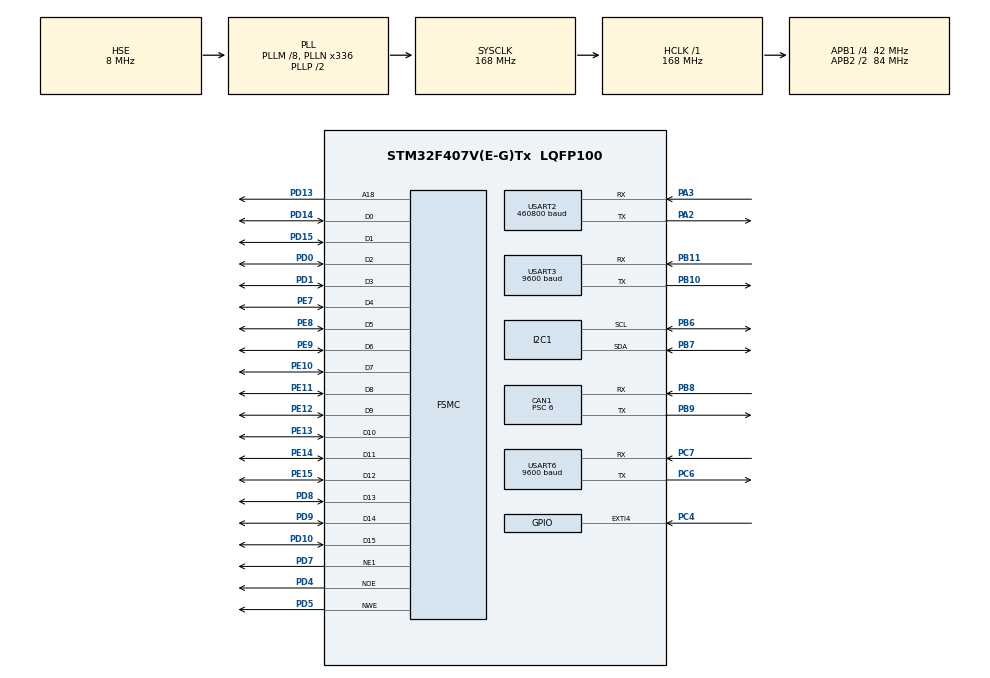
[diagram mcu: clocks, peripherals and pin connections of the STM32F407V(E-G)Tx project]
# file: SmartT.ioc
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CAN1.CalculateBaudRate=500000
CAN1.CalculateTimeBit=2000
CAN1.CalculateTimeQuantum=142.85714285714286
CAN1.AutoBusOff=ENABLE
CAN1.AutoRetransmission=ENABLE
CAN1.Prescaler=6
CAN1.TimeSeg1=CAN_BS1_11TQ
CAN1.TimeSeg2=CAN_BS2_2TQ
FSMC.AddressSetupTime1=5
FSMC.BusTurnAroundDuration1=0
FSMC.DataSetupTime1=9
Mcu.Family=STM32F4
Mcu.Name=STM32F407V(E-G)Tx
Mcu.Package=LQFP100
NVIC.PriorityGroup=NVIC_PRIORITYGROUP_4
NVIC.USART3_IRQn=true\:0\:0\:false\:false\:true\:true\:true\:true
NVIC.USART6_IRQn=true\:0\:0\:false\:false\:true\:true\:true\:true
PA13.Mode=Serial_Wire
PA13.Signal=SYS_JTMS-SWDIO
PA14.Mode=Serial_Wire
PA14.Signal=SYS_JTCK-SWCLK
PA2.Mode=Asynchronous
PA2.Signal=USART2_TX
PA3.Mode=Asynchronous
PA3.Signal=USART2_RX
PB10.Mode=Asynchronous
PB10.Signal=USART3_TX
PB11.Mode=Asynchronous
PB11.Signal=USART3_RX
PB6.Mode=I2C
PB6.Signal=I2C1_SCL
PB7.Mode=I2C
PB7.Signal=I2C1_SDA
PB8.Mode=CAN_Activate
PB8.Signal=CAN1_RX
PB9.Mode=CAN_Activate
PB9.Signal=CAN1_TX
PC4.Signal=GPXTI4
PC6.Mode=Asynchronous
PC6.Signal=USART6_TX
PC7.Mode=Asynchronous
PC7.Signal=USART6_RX
PD0.Mode=16b-d1
PD0.Signal=FSMC_D2
PD1.Mode=16b-d1
PD1.Signal=FSMC_D3
PD10.Mode=16b-d1
PD10.Signal=FSMC_D15
PD13.Mode=A18_1
PD13.Signal=FSMC_A18
PD14.Mode=16b-d1
PD14.Signal=FSMC_D0
PD15.Mode=16b-d1
PD15.Signal=FSMC_D1
PD4.Mode=Lcd1
PD4.Signal=FSMC_NOE
PD5.Mode=Lcd1
PD5.Signal=FSMC_NWE
PD7.Mode=NorPsramChipSelect1_1
PD7.Signal=FSMC_NE1
PD8.Mode=16b-d1
PD8.Signal=FSMC_D13
PD9.Mode=16b-d1
PD9.Signal=FSMC_D14
PE10.Mode=16b-d1
PE10.Signal=FSMC_D7
PE11.Mode=16b-d1
PE11.Signal=FSMC_D8
PE12.Mode=16b-d1
PE12.Signal=FSMC_D9
PE13.Mode=16b-d1
PE13.Signal=FSMC_D10
PE14.Mode=16b-d1
PE14.Signal=FSMC_D11
PE15.Mode=16b-d1
PE15.Signal=FSMC_D12
PE7.Mode=16b-d1
PE7.Signal=FSMC_D4
PE8.Mode=16b-d1
PE8.Signal=FSMC_D5
PE9.Mode=16b-d1
PE9.Signal=FSMC_D6
PH0-OSC_IN.Mode=HSE-External-Oscillator
PH0-OSC_IN.Signal=RCC_OSC_IN
PH1-OSC_OUT.Mode=HSE-External-Oscillator
PH1-OSC_OUT.Signal=RCC_OSC_OUT
ProjectManager.HeapSize=0x200
ProjectManager.StackSize=0x1000
ProjectManager.TargetToolchain=STM32CubeIDE
RCC.48MHZClocksFreq_Value=84000000
RCC.AHBFreq_Value=168000000
RCC.APB1CLKDivider=RCC_HCLK_DIV4
RCC.APB1Freq_Value=42000000
RCC.APB1TimFreq_Value=84000000
RCC.APB2CLKDivider=RCC_HCLK_DIV2
RCC.APB2Freq_Value=84000000
RCC.APB2TimFreq_Value=168000000
RCC.CortexFreq_Value=168000000
RCC.HCLKFreq_Value=168000000
RCC.HSE_VALUE=8000000
RCC.HSI_VALUE=16000000
RCC.LSE_VALUE=32768
RCC.PLLM=8
RCC.PLLN=336
RCC.PLLSourceVirtual=RCC_PLLSOURCE_HSE
RCC.SYSCLKFreq_VALUE=168000000
RCC.SYSCLKSource=RCC_SYSCLKSOURCE_PLLCLK
RCC.VCOOutputFreq_Value=336000000
USART2.BaudRate=460800
USART2.VirtualMode=VM_ASYNC
USART3.BaudRate=9600
USART3.VirtualMode=VM_ASYNC
USART6.BaudRate=9600
USART6.VirtualMode=VM_ASYNC
board=custom

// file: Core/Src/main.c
/* USER CODE BEGIN Header */
/**
  ******************************************************************************
  * @file           : main.c
  * @brief          : Main program body
  ******************************************************************************
  * @attention
  *
  * Copyright (c) 2026 STMicroelectronics.
  * All rights reserved.
  *
  * This software is licensed under terms that can be found in the LICENSE file
  * in the root directory of this software component.
  * If no LICENSE file comes with this software, it is provided AS-IS.
  *
  ******************************************************************************
  */
/* USER CODE END Header */
#include "main.h"

/* USER CODE BEGIN Includes */
#include "lcd_bus.h"
#include "lcd.h"
#include "mpu6050.h"
#include "gps.h"
#include "ultrasonic.h"
#include "smartt_config.h"
#include "smartt_can.h"
#include "smartt_engine.h"
#include "smartt_telemetry.h"

#include <stdio.h>
#include <math.h>
#include <string.h>
/* USER CODE END Includes */

CAN_HandleTypeDef hcan1;

I2C_HandleTypeDef hi2c1;

UART_HandleTypeDef huart2;
UART_HandleTypeDef huart3;
UART_HandleTypeDef huart6;

SRAM_HandleTypeDef hsram1;

/* USER CODE BEGIN PV */
MPU6050_Data_t imu;

float filtered_roll = 0.0f;
float filtered_pitch = 0.0f;

uint32_t imu_last_tick = 0U;
uint32_t imu_reinit_tick = 0U;
uint32_t display_last_tick = 0U;
uint32_t telemetry_last_tick = 0U;
uint32_t last_ultrasonic_frame_seq = 0U;
uint32_t last_sent_event_seq = 0U;

uint8_t imu_ok = 0U;
uint8_t imu_consecutive_fail = 0U;
uint32_t imu_read_ok = 0U;
uint32_t imu_read_fail = 0U;

char gps_lat_text[24];
char gps_lon_text[24];
char sensor_text[32];

GPS_Data_t gps_snapshot;
Ultrasonic_Data_t ultrasonic_snapshot;
SmartT_CAN_Data_t can_snapshot;
SmartT_EngineSnapshot_t engine_snapshot;
/* USER CODE END PV */

void SystemClock_Config(void);
static void MX_GPIO_Init(void);
static void MX_CAN1_Init(void);
static void MX_FSMC_Init(void);
static void MX_I2C1_Init(void);
static void MX_USART2_UART_Init(void);
static void MX_USART3_UART_Init(void);
static void MX_USART6_UART_Init(void);

/* USER CODE BEGIN 0 */
/* ================================================================
 * SmartT V2.2 main.c is now an orchestrator.
 * Fuel intelligence lives in smartt_engine.c, CAN context in
 * smartt_can.c, and JSON telemetry in smartt_telemetry.c.
 * ================================================================ */

static uint8_t SmartT_IMUStartWithCalibration(void)
{
  memset(&imu, 0, sizeof(imu));

  if (MPU6050_Init() != HAL_OK)
    return 0U;

  if (MPU6050_CalibrateGyro() != HAL_OK)
    return 0U;

  if (MPU6050_Read(&imu) != HAL_OK)
    return 0U;

  filtered_roll = imu.roll;
  filtered_pitch = imu.pitch;
  imu_last_tick = HAL_GetTick();
  imu_consecutive_fail = 0U;
  return 1U;
}

static uint8_t SmartT_IMUTryRecover(void)
{
  /* Runtime recovery intentionally skips gyro calibration because the
   * vehicle may already be moving. */
  if (MPU6050_Init() != HAL_OK)
    return 0U;

  if (MPU6050_Read(&imu) != HAL_OK)
    return 0U;

  filtered_roll = imu.roll;
  filtered_pitch = imu.pitch;
  imu_last_tick = HAL_GetTick();
  imu_consecutive_fail = 0U;
  return 1U;
}

static float SmartT_ComputeDisplayTilt(void)
{
  if (!imu_ok)
    return -1.0f;

  const float accel_xy = sqrtf((imu.ax * imu.ax) + (imu.ay * imu.ay));
  const float accel_mag = sqrtf((imu.ax * imu.ax) +
                                (imu.ay * imu.ay) +
                                (imu.az * imu.az));

  if (accel_mag < 0.10f)
    return -1.0f;

  float tilt = atan2f(accel_xy, imu.az) * 57.2957795f;
  if (tilt < 0.5f)
    tilt = 0.0f;
  return tilt;
}

static void FormatCoordinate(char *buffer, size_t size, double value)
{
  char sign = ' ';
  if (value < 0.0)
  {
    sign = '-';
    value = -value;
  }

  const uint32_t integer_part = (uint32_t)value;
  const uint32_t decimal_part =
      (uint32_t)((value - (double)integer_part) * 100000.0);

  snprintf(buffer, size, "%c%lu.%05lu", sign,
           (unsigned long)integer_part,
           (unsigned long)decimal_part);
}
/* USER CODE END 0 */

int main(void)
{

  /* MCU Configuration--------------------------------------------------------*/

  /* Reset of all peripherals, Initializes the Flash interface and the Systick. */
  HAL_Init();

  /* Configure the system clock */
  SystemClock_Config();

  /* Initialize all configured peripherals */
  MX_GPIO_Init();
  MX_CAN1_Init();
  MX_FSMC_Init();
  MX_I2C1_Init();
  MX_USART2_UART_Init();
  MX_USART3_UART_Init();
  MX_USART6_UART_Init();
  /* USER CODE BEGIN 2 */
memset(&gps_snapshot, 0, sizeof(gps_snapshot));
  memset(&ultrasonic_snapshot, 0, sizeof(ultrasonic_snapshot));
  memset(&can_snapshot, 0, sizeof(can_snapshot));
  memset(&engine_snapshot, 0, sizeof(engine_snapshot));

  LCD_Init();
  SmartT_DrawDashboard();

  LCD_DrawString(88, 182, "CALIBRATING", LCD_YELLOW, LCD_BRAND_ELEVATED, 1);

  imu_ok = SmartT_IMUStartWithCalibration();
  imu_reinit_tick = HAL_GetTick();

  if (!imu_ok)
  {
    LCD_DrawString(88, 168, "IMU FAIL    ", LCD_RED, LCD_BRAND_ELEVATED, 1);
  }

  GPS_Init();
  Ultrasonic_Init();
  (void)SmartT_CAN_Init(&hcan1);
  SmartT_EngineInit(HAL_GetTick());

  if (imu_ok)
  {
    SmartT_EnginePushImu(&imu, filtered_roll, filtered_pitch, 1U, HAL_GetTick());
  }

  display_last_tick = HAL_GetTick();
  telemetry_last_tick = HAL_GetTick();
/* USER CODE END 2 */

  /* Infinite loop */
  /* USER CODE BEGIN WHILE */
  while (1)
  {
    const uint32_t now = HAL_GetTick();

    GPS_Process();
    Ultrasonic_Process();
    SmartT_CAN_Process(&hcan1, now);

    GPS_GetSnapshot(&gps_snapshot);
    Ultrasonic_GetSnapshot(&ultrasonic_snapshot);
    SmartT_CAN_GetSnapshot(&can_snapshot);

    /* ------------------------------------------------------------
     * MPU6050 at 50 Hz: complementary attitude + motion energy.
     * ------------------------------------------------------------ */
    if (imu_ok && ((now - imu_last_tick) >= SMARTT_IMU_PERIOD_MS))
    {
      const float dt = (float)(now - imu_last_tick) / 1000.0f;
      imu_last_tick = now;

      if (MPU6050_Read(&imu) == HAL_OK)
      {
        imu_read_ok++;
        imu_consecutive_fail = 0U;

        const float alpha = 0.98f;
        filtered_roll = alpha * (filtered_roll + imu.gx * dt) +
                        (1.0f - alpha) * imu.roll;
        filtered_pitch = alpha * (filtered_pitch + imu.gy * dt) +
                         (1.0f - alpha) * imu.pitch;

        SmartT_EnginePushImu(&imu,
                             filtered_roll,
                             filtered_pitch,
                             1U,
                             now);
      }
      else
      {
        imu_read_fail++;
        if (imu_consecutive_fail < 255U)
          imu_consecutive_fail++;

        if (imu_consecutive_fail >= SMARTT_IMU_MAX_CONSECUTIVE_FAIL)
        {
          imu_ok = 0U;
          imu_reinit_tick = now;
          memset(&imu, 0, sizeof(imu));
          filtered_roll = 0.0f;
          filtered_pitch = 0.0f;
          SmartT_EnginePushImu(NULL, 0.0f, 0.0f, 0U, now);
        }
      }
    }

    if (!imu_ok && ((now - imu_reinit_tick) >= SMARTT_IMU_RETRY_MS))
    {
      imu_reinit_tick = now;
      if (SmartT_IMUTryRecover())
      {
        imu_ok = 1U;
        imu_read_ok++;
        SmartT_EnginePushImu(&imu,
                             filtered_roll,
                             filtered_pitch,
                             1U,
                             now);
      }
      else
      {
        imu_read_fail++;
      }
    }

    /* Safe context fusion: no fresh speed/engine evidence means UNKNOWN,
     * rather than assuming the vehicle is parked from a quiet IMU alone. */
    SmartT_EngineUpdateContext(&gps_snapshot, &can_snapshot, now);

    /* Process each complete automatic-UART ultrasonic frame exactly once. */
    if (ultrasonic_snapshot.valid &&
        (ultrasonic_snapshot.frame_seq != 0U) &&
        (ultrasonic_snapshot.frame_seq != last_ultrasonic_frame_seq))
    {
        last_ultrasonic_frame_seq = ultrasonic_snapshot.frame_seq;
#if SMARTT_DEBUG_SKIP_ENGINE_US
        /* debug: driver + display only, engine disabled */
#else
        SmartT_EngineProcessUltrasonic(&ultrasonic_snapshot, now);
#endif
    }

    /* Freshness, baseline timers and candidate confirmation continue even
     * between sensor frames. */
    SmartT_EngineTick(&ultrasonic_snapshot, now);
    SmartT_EngineGetSnapshot(&engine_snapshot);

    /* Confirmed incidents are pushed immediately.  event_seq is stable so
     * the gateway/backend can deduplicate retries idempotently. */
    if ((engine_snapshot.event_seq != 0U) &&
        (engine_snapshot.event_seq != last_sent_event_seq))
    {
      /* Advance the local ACK marker only after USART accepted the record.
       * If transmission fails, the same confirmed event is retried next loop. */
      if (SmartT_TelemetrySend(&huart2,
                               SMARTT_RECORD_EVENT,
                               &engine_snapshot,
                               &can_snapshot,
                               &gps_snapshot,
                               &ultrasonic_snapshot,
                               now) == HAL_OK)
      {
        last_sent_event_seq = engine_snapshot.event_seq;
      }
    }

    if ((now - telemetry_last_tick) >= SMARTT_TELEMETRY_PERIOD_MS)
    {
      telemetry_last_tick = now;
      (void)SmartT_TelemetrySend(&huart2,
                                 SMARTT_RECORD_TELEMETRY,
                                 &engine_snapshot,
                                 &can_snapshot,
                                 &gps_snapshot,
                                 &ultrasonic_snapshot,
                                 now);
    }

    /* ------------------------------------------------------------
     * TFT at 10 Hz.
     * ------------------------------------------------------------ */
    if ((now - display_last_tick) >= SMARTT_DISPLAY_PERIOD_MS)
    {
      display_last_tick = now;

      const int vehicle_speed = engine_snapshot.context.speed_known ?
                                (int)engine_snapshot.context.speed_kmh : 0;
      const int rpm = engine_snapshot.context.can_fresh ?
                      (int)engine_snapshot.context.rpm : -1;

      const float display_fuel = SMARTT_TANK_CALIBRATION_READY &&
                                 engine_snapshot.fuel.available ?
                                 engine_snapshot.fuel.percent_filtered : -1.0f;

      const char *state_text = imu_ok ?
                               SmartT_ContextToString(engine_snapshot.context.mode) :
                               "IMU FAIL";
      const char *event_text = SmartT_EventToString(engine_snapshot.event);

      if (ultrasonic_snapshot.valid &&
          (ultrasonic_snapshot.last_update_ms != 0U) &&
          ((now - ultrasonic_snapshot.last_update_ms) < SMARTT_US_TIMEOUT_MS))
      {
        const unsigned int q_pct =
            (unsigned int)(engine_snapshot.fuel.quality * 100.0f + 0.5f);
        snprintf(sensor_text,
                 sizeof(sensor_text),
                 "US %u Q%u",
                 (unsigned int)ultrasonic_snapshot.distance_mm,
                 q_pct);
      }
      else
      {
        strcpy(sensor_text, "US NO DATA");
      }

      SmartT_UpdateDashboard(display_fuel,
                             rpm,
                             vehicle_speed,
                             SmartT_ComputeDisplayTilt(),
                             state_text,
                             event_text,
                             sensor_text);

      if (gps_snapshot.fix &&
          (gps_snapshot.last_update_ms != 0U) &&
          ((now - gps_snapshot.last_update_ms) <= SMARTT_GPS_FRESH_MS))
      {
        FormatCoordinate(gps_lat_text, sizeof(gps_lat_text), gps_snapshot.latitude);
        FormatCoordinate(gps_lon_text, sizeof(gps_lon_text), gps_snapshot.longitude);
      }

      SmartT_UpdateGpsBar(
          (gps_snapshot.fix &&
           (gps_snapshot.last_update_ms != 0U) &&
           ((now - gps_snapshot.last_update_ms) <= SMARTT_GPS_FRESH_MS)) ? 1U : 0U,
          gps_lat_text,
          gps_lon_text);
    }
    /* USER CODE END WHILE */

  }
}

void SystemClock_Config(void)
{
  RCC_OscInitTypeDef RCC_OscInitStruct = {0};
  RCC_ClkInitTypeDef RCC_ClkInitStruct = {0};

  /** Configure the main internal regulator output voltage
  */
  __HAL_RCC_PWR_CLK_ENABLE();
  __HAL_PWR_VOLTAGESCALING_CONFIG(PWR_REGULATOR_VOLTAGE_SCALE1);

  /** Initializes the RCC Oscillators according to the specified parameters
  * in the RCC_OscInitTypeDef structure.
  */
  RCC_OscInitStruct.OscillatorType = RCC_OSCILLATORTYPE_HSE;
  RCC_OscInitStruct.HSEState = RCC_HSE_ON;
  RCC_OscInitStruct.PLL.PLLState = RCC_PLL_ON;
  RCC_OscInitStruct.PLL.PLLSource = RCC_PLLSOURCE_HSE;
  RCC_OscInitStruct.PLL.PLLM = 8;
  RCC_OscInitStruct.PLL.PLLN = 336;
  RCC_OscInitStruct.PLL.PLLP = RCC_PLLP_DIV2;
  RCC_OscInitStruct.PLL.PLLQ = 4;
  if (HAL_RCC_OscConfig(&RCC_OscInitStruct) != HAL_OK)
  {
    Error_Handler();
  }

  /** Initializes the CPU, AHB and APB buses clocks
  */
  RCC_ClkInitStruct.ClockType = RCC_CLOCKTYPE_HCLK|RCC_CLOCKTYPE_SYSCLK
                              |RCC_CLOCKTYPE_PCLK1|RCC_CLOCKTYPE_PCLK2;
  RCC_ClkInitStruct.SYSCLKSource = RCC_SYSCLKSOURCE_PLLCLK;
  RCC_ClkInitStruct.AHBCLKDivider = RCC_SYSCLK_DIV1;
  RCC_ClkInitStruct.APB1CLKDivider = RCC_HCLK_DIV4;
  RCC_ClkInitStruct.APB2CLKDivider = RCC_HCLK_DIV2;

  if (HAL_RCC_ClockConfig(&RCC_ClkInitStruct, FLASH_LATENCY_5) != HAL_OK)
  {
    Error_Handler();
  }
}

static void MX_CAN1_Init(void)
{

  hcan1.Instance = CAN1;
  hcan1.Init.Prescaler = 6;
  hcan1.Init.Mode = CAN_MODE_NORMAL;
  hcan1.Init.SyncJumpWidth = CAN_SJW_1TQ;
  hcan1.Init.TimeSeg1 = CAN_BS1_11TQ;
  hcan1.Init.TimeSeg2 = CAN_BS2_2TQ;
  hcan1.Init.TimeTriggeredMode = DISABLE;
  hcan1.Init.AutoBusOff = ENABLE;
  hcan1.Init.AutoWakeUp = DISABLE;
  hcan1.Init.AutoRetransmission = ENABLE;
  hcan1.Init.ReceiveFifoLocked = DISABLE;
  hcan1.Init.TransmitFifoPriority = DISABLE;
  if (HAL_CAN_Init(&hcan1) != HAL_OK)
  {
    Error_Handler();
  }

}

static void MX_I2C1_Init(void)
{

  hi2c1.Instance = I2C1;
  hi2c1.Init.ClockSpeed = 100000;
  hi2c1.Init.DutyCycle = I2C_DUTYCYCLE_2;
  hi2c1.Init.OwnAddress1 = 0;
  hi2c1.Init.AddressingMode = I2C_ADDRESSINGMODE_7BIT;
  hi2c1.Init.DualAddressMode = I2C_DUALADDRESS_DISABLE;
  hi2c1.Init.OwnAddress2 = 0;
  hi2c1.Init.GeneralCallMode = I2C_GENERALCALL_DISABLE;
  hi2c1.Init.NoStretchMode = I2C_NOSTRETCH_DISABLE;
  if (HAL_I2C_Init(&hi2c1) != HAL_OK)
  {
    Error_Handler();
  }

}

static void MX_USART2_UART_Init(void)
{

  huart2.Instance = USART2;
  huart2.Init.BaudRate = 460800;
  huart2.Init.WordLength = UART_WORDLENGTH_8B;
  huart2.Init.StopBits = UART_STOPBITS_1;
  huart2.Init.Parity = UART_PARITY_NONE;
  huart2.Init.Mode = UART_MODE_TX_RX;
  huart2.Init.HwFlowCtl = UART_HWCONTROL_NONE;
  huart2.Init.OverSampling = UART_OVERSAMPLING_16;
  if (HAL_UART_Init(&huart2) != HAL_OK)
  {
    Error_Handler();
  }

}

static void MX_USART3_UART_Init(void)
{

  huart3.Instance = USART3;
  huart3.Init.BaudRate = 9600;
  huart3.Init.WordLength = UART_WORDLENGTH_8B;
  huart3.Init.StopBits = UART_STOPBITS_1;
  huart3.Init.Parity = UART_PARITY_NONE;
  huart3.Init.Mode = UART_MODE_TX_RX;
  huart3.Init.HwFlowCtl = UART_HWCONTROL_NONE;
  huart3.Init.OverSampling = UART_OVERSAMPLING_16;
  if (HAL_UART_Init(&huart3) != HAL_OK)
  {
    Error_Handler();
  }

}

static void MX_USART6_UART_Init(void)
{

  huart6.Instance = USART6;
  huart6.Init.BaudRate = 9600;
  huart6.Init.WordLength = UART_WORDLENGTH_8B;
  huart6.Init.StopBits = UART_STOPBITS_1;
  huart6.Init.Parity = UART_PARITY_NONE;
  huart6.Init.Mode = UART_MODE_RX;
  huart6.Init.HwFlowCtl = UART_HWCONTROL_NONE;
  huart6.Init.OverSampling = UART_OVERSAMPLING_16;
  if (HAL_UART_Init(&huart6) != HAL_OK)
  {
    Error_Handler();
  }

}

static void MX_GPIO_Init(void)
{
  GPIO_InitTypeDef GPIO_InitStruct = {0};

  /* GPIO Ports Clock Enable */
  __HAL_RCC_GPIOH_CLK_ENABLE();
  __HAL_RCC_GPIOA_CLK_ENABLE();
  __HAL_RCC_GPIOC_CLK_ENABLE();
  __HAL_RCC_GPIOE_CLK_ENABLE();
  __HAL_RCC_GPIOB_CLK_ENABLE();
  __HAL_RCC_GPIOD_CLK_ENABLE();

  /*Configure GPIO pin : PC4 */
  GPIO_InitStruct.Pin = GPIO_PIN_4;
  GPIO_InitStruct.Mode = GPIO_MODE_IT_RISING;
  GPIO_InitStruct.Pull = GPIO_NOPULL;
  HAL_GPIO_Init(GPIOC, &GPIO_InitStruct);

}

/* FSMC initialization function */
static void MX_FSMC_Init(void)
{

  FSMC_NORSRAM_TimingTypeDef Timing = {0};

  /** Perform the SRAM1 memory initialization sequence
  */
  hsram1.Instance = FSMC_NORSRAM_DEVICE;
  hsram1.Extended = FSMC_NORSRAM_EXTENDED_DEVICE;
  /* hsram1.Init */
  hsram1.Init.NSBank = FSMC_NORSRAM_BANK1;
  hsram1.Init.DataAddressMux = FSMC_DATA_ADDRESS_MUX_DISABLE;
  hsram1.Init.MemoryType = FSMC_MEMORY_TYPE_SRAM;
  hsram1.Init.MemoryDataWidth = FSMC_NORSRAM_MEM_BUS_WIDTH_16;
  hsram1.Init.BurstAccessMode = FSMC_BURST_ACCESS_MODE_DISABLE;
  hsram1.Init.WaitSignalPolarity = FSMC_WAIT_SIGNAL_POLARITY_LOW;
  hsram1.Init.WrapMode = FSMC_WRAP_MODE_DISABLE;
  hsram1.Init.WaitSignalActive = FSMC_WAIT_TIMING_BEFORE_WS;
  hsram1.Init.WriteOperation = FSMC_WRITE_OPERATION_ENABLE;
  hsram1.Init.WaitSignal = FSMC_WAIT_SIGNAL_DISABLE;
  hsram1.Init.ExtendedMode = FSMC_EXTENDED_MODE_DISABLE;
  hsram1.Init.AsynchronousWait = FSMC_ASYNCHRONOUS_WAIT_DISABLE;
  hsram1.Init.WriteBurst = FSMC_WRITE_BURST_DISABLE;
  hsram1.Init.PageSize = FSMC_PAGE_SIZE_NONE;
  /* Timing */
  Timing.AddressSetupTime = 5;
  Timing.AddressHoldTime = 15;
  Timing.DataSetupTime = 9;
  Timing.BusTurnAroundDuration = 0;
  Timing.CLKDivision = 16;
  Timing.DataLatency = 17;
  Timing.AccessMode = FSMC_ACCESS_MODE_A;
  /* ExtTiming */

  if (HAL_SRAM_Init(&hsram1, &Timing, NULL) != HAL_OK)
  {
    Error_Handler( );
  }

}

/* USER CODE BEGIN 4 */
void HAL_UART_RxCpltCallback(UART_HandleTypeDef *huart)
{
  GPS_RxCallback(huart);
  Ultrasonic_RxCallback(huart);
}

void HAL_UART_ErrorCallback(UART_HandleTypeDef *huart)
{
  if (huart->Instance == USART6)
  {
    Ultrasonic_Init();
  }

  if (huart->Instance == USART3)
  {
    GPS_Init();
  }
}
/* USER CODE END 4 */

void Error_Handler(void)
{
  __disable_irq();
  while (1)
  {
  }
}
